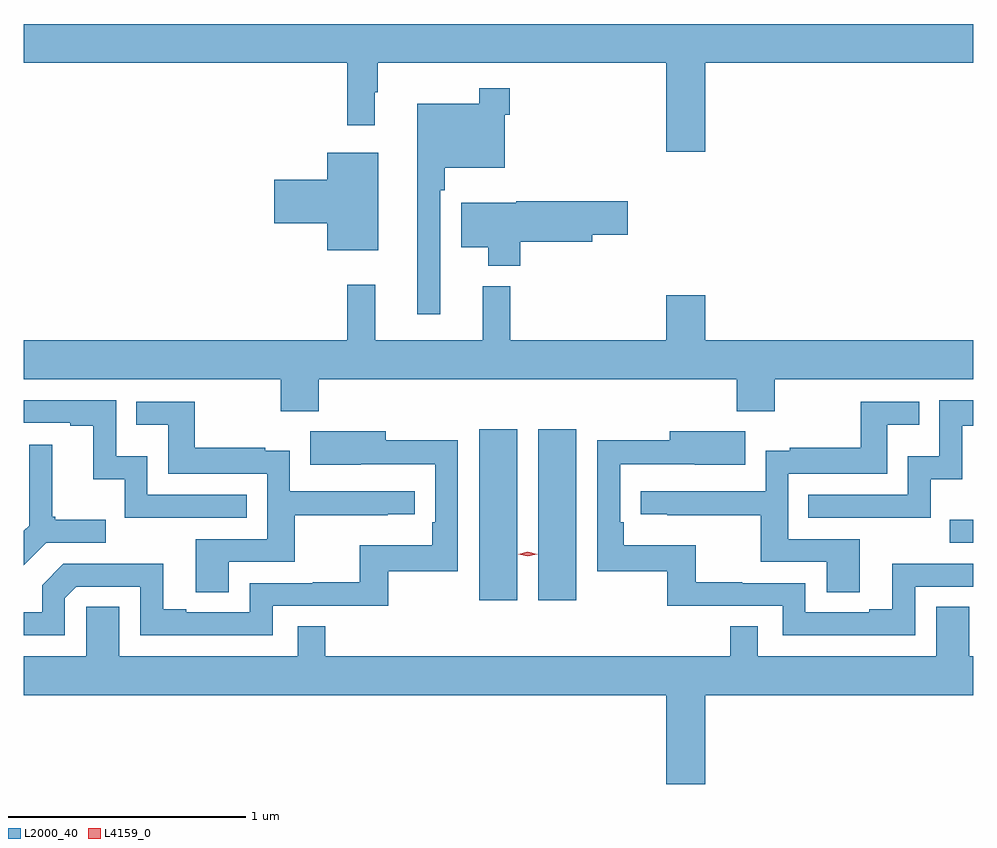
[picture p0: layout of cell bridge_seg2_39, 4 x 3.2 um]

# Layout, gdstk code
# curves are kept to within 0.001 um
import gdstk
lib = gdstk.Library(unit=1e-6, precision=1e-09)
def R(c, l, rs):  # rectangles x0, y0, x1, y1
    for r in rs: c.add(gdstk.rectangle(r[:2], r[2:], *l))
def P(c, l, *ps):  # polygons
    for p in ps: c.add(gdstk.Polygon(p, *l))
L2000_40 = (2000, 40)
L4159_0 = (4159, 0)

bridge_seg2_39 = lib.new_cell('bridge_seg2_39')
R(bridge_seg2_39, L2000_40, [(895.487,645.372,895.648,646.093), (895.736,645.372,895.897,646.093), (897.471,645.615,897.569,645.712)])
P(bridge_seg2_39, L2000_40, [(893.569,647.636),(894.931,647.636),(894.931,647.373),(895.048,647.373),(895.048,647.513),(895.06,647.513),(895.06,647.636),(896.276,647.636),(896.276,647.262),(896.44,647.262),(896.44,647.636),(897.569,647.636),(897.569,647.8),(893.569,647.8)],
  [(895.323,647.099),(895.343,647.099),(895.343,647.195),(895.596,647.195),(895.596,647.417),(895.616,647.417),(895.616,647.53),(895.488,647.53),(895.488,647.464),(895.226,647.464),(895.226,646.578),(895.323,646.578)],
  [(895.063,647.257),(894.848,647.257),(894.848,647.144),(894.624,647.144),(894.624,646.961),(894.848,646.961),(894.848,646.847),(895.063,646.847)],
  [(895.661,646.882),(895.963,646.882),(895.963,646.912),(896.113,646.912),(896.113,647.054),(895.644,647.054),(895.644,647.047),(895.412,647.047),(895.412,646.859),(895.526,646.859),(895.526,646.781),(895.661,646.781)],
  [(894.812,646.304),(896.573,646.304),(896.573,646.169),(896.733,646.169),(896.733,646.304),(897.569,646.304),(897.569,646.468),(896.44,646.468),(896.44,646.657),(896.276,646.657),(896.276,646.468),(895.619,646.468),(895.619,646.696),(895.502,646.696),(895.502,646.468),(895.049,646.468),(895.049,646.702),(894.931,646.702),(894.931,646.468),(893.569,646.468),(893.569,646.304),(894.652,646.304),(894.652,646.169),(894.812,646.169)],
  [(894.509,645.816),(894.09,645.816),(894.09,645.979),(893.958,645.979),(893.958,646.215),(893.569,646.215),(893.569,646.119),(893.765,646.119),(893.765,646.107),(893.861,646.107),(893.861,645.881),(893.994,645.881),(893.994,645.72),(894.509,645.72)],
  [(897.39,645.881),(897.523,645.881),(897.523,646.107),(897.569,646.107),(897.569,646.215),(897.426,646.215),(897.426,645.979),(897.294,645.979),(897.294,645.816),(896.875,645.816),(896.875,645.72),(897.39,645.72)],
  [(897.091,645.63),(896.79,645.63),(896.79,645.906),(897.207,645.906),(897.207,646.112),(897.341,646.112),(897.341,646.209),(897.096,646.209),(897.096,646.015),(896.797,646.015),(896.797,646.003),(896.694,646.003),(896.694,645.831),(896.169,645.831),(896.169,645.735),(896.281,645.735),(896.281,645.73),(896.674,645.73),(896.674,645.534),(896.951,645.534),(896.951,645.406),(897.091,645.406)],
  [(894.433,645.534),(894.71,645.534),(894.71,645.73),(895.103,645.73),(895.103,645.735),(895.216,645.735),(895.216,645.831),(894.69,645.831),(894.69,646.003),(894.587,646.003),(894.587,646.015),(894.289,646.015),(894.289,646.209),(894.043,646.209),(894.043,646.112),(894.178,646.112),(894.178,645.906),(894.594,645.906),(894.594,645.63),(894.293,645.63),(894.293,645.406),(894.433,645.406)],
  [(897.324,645.429),(897.569,645.429),(897.569,645.525),(897.432,645.525),(897.432,645.527),(897.227,645.527),(897.227,645.334),(897.131,645.334),(897.131,645.321),(896.862,645.321),(896.862,645.444),(896.597,645.444),(896.597,645.449),(896.401,645.449),(896.401,645.604),(896.096,645.604),(896.096,645.7),(896.082,645.7),(896.082,645.945),(896.395,645.945),(896.395,645.944),(896.609,645.944),(896.609,646.084),(896.291,646.084),(896.291,646.046),(895.986,646.046),(895.986,645.495),(896.28,645.495),(896.28,645.348),(896.766,645.348),(896.766,645.225),(897.324,645.225)],
  [(893.742,645.381),(893.79,645.429),(894.06,645.429),(894.06,645.225),(894.618,645.225),(894.618,645.348),(895.105,645.348),(895.105,645.495),(895.398,645.495),(895.398,646.046),(895.093,646.046),(895.093,646.084),(894.775,646.084),(894.775,645.944),(895.302,645.945),(895.302,645.7),(895.289,645.7),(895.289,645.604),(894.984,645.604),(894.984,645.449),(894.787,645.449),(894.787,645.444),(894.522,645.444),(894.522,645.321),(894.253,645.321),(894.253,645.334),(894.157,645.334),(894.157,645.527),(893.952,645.527),(893.952,645.525),(893.736,645.525),(893.646,645.435),(893.646,645.321),(893.569,645.321),(893.569,645.225),(893.742,645.225)],
  [(893.664,645.615),(893.914,645.615),(893.914,645.712),(893.701,645.712),(893.701,645.724),(893.689,645.724),(893.689,646.027),(893.592,646.027),(893.592,645.687),(893.569,645.664),(893.569,645.52)],
  [(896.44,644.972),(897.569,644.972),(897.569,645.136),(897.552,645.136),(897.552,645.344),(897.413,645.344),(897.413,645.136),(896.661,645.136),(896.661,645.263),(896.545,645.263),(896.545,645.136),(894.839,645.136),(894.839,645.263),(894.723,645.263),(894.723,645.136),(893.971,645.136),(893.971,645.344),(893.832,645.344),(893.832,645.136),(893.569,645.136),(893.569,644.972),(896.276,644.972),(896.276,644.598),(896.44,644.598)])
P(bridge_seg2_39, L4159_0, [(895.692,645.557),(895.652,645.567),(895.652,645.567),(895.652,645.567),(895.692,645.577),(895.732,645.567),(895.732,645.567),(895.732,645.567)])

lib.write_gds('bridge_seg2_39.gds')
